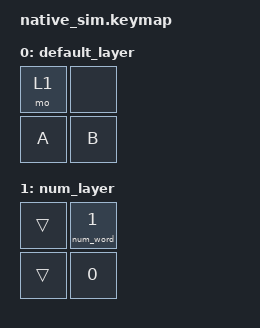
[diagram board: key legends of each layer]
#include <dt-bindings/zmk/keys.h>
#include <behaviors.dtsi>
#include <behaviors/num_word.dtsi>
#include <dt-bindings/zmk/kscan_mock.h>

/ {
    keymap {
        compatible = "zmk,keymap";
        default_layer {
            bindings = <
                &mo 1 &none
                &kp A &kp B
            >;
        };

        num_layer {
            bindings = <
                &trans &num_word 1
                &trans &kp N0
            >;
        };
    };
};

&kscan {
    events = <
        ZMK_MOCK_PRESS(0,0,10)
        ZMK_MOCK_PRESS(0,1,10)
        ZMK_MOCK_RELEASE(0,1,10)
        ZMK_MOCK_RELEASE(0,0,10)
        ZMK_MOCK_PRESS(1,1,10)
        ZMK_MOCK_RELEASE(1,1,10)
        ZMK_MOCK_PRESS(1,0,10)
        ZMK_MOCK_RELEASE(1,0,10)
    >;
};
